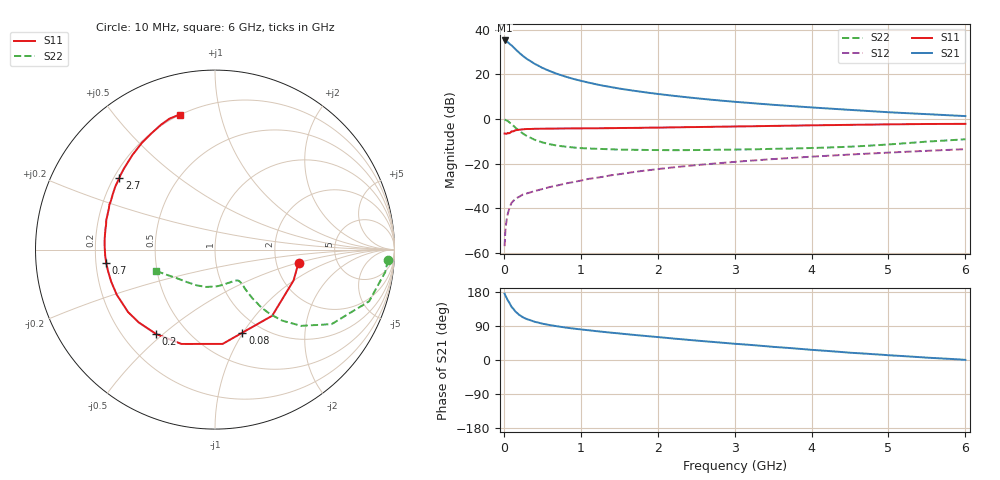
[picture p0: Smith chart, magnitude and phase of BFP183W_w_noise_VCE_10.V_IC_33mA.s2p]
! Infineon Technologies  Discrete & RF Semiconductors
! BFP183W
! VCE =  10. V,  IC =  33 mA
! Common Emitter S-Parameters:  Jan 2017
# GHz  S  MA  R  50
!  f  S11  S21  S12  S22
! GHz  MAG  ANG  MAG  ANG  MAG  ANG  MAG  ANG
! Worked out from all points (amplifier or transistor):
!   77 points, 10 MHz to 6 GHz, reference 50 ohm
!   highest |S21| = 35.2 dB at 10 MHz (marker M1)
!   |S21| within 3 dB of that: start of sweep to 123.4 MHz
!   unconditionally stable (mu >= 1): 968.3 MHz to 3.41 GHz
!   at 130 MHz: K = 0.30, MSG = 34.3 dB, |S12| = -36.5 dB
!   at 2.2 GHz: K = 1.06, MAG = 14.6 dB, |S12| = -21.7 dB
!   at 6 GHz: K = 0.86, MSG = 7.4 dB, |S12| = -13.5 dB
!   lowest NFmin = 1.47 dB at 450 MHz
!   S11 on the Smith chart (normalised r, x): 10 MHz: 2.68, -0.50; 80 MHz: 0.82, -0.99; 200 MHz: 0.34, -0.47; 700 MHz: 0.24, -0.06; 2.7 GHz: 0.22, +0.32; 6 GHz: 0.20, +0.75
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0.01  0.4713 -8.8  57.8 175.1  0.0014 75.7  0.9653 -3.5
0.02  0.4704 -21.4  56.68 170.2  0.0031 86.7  0.9567 -7.5
0.05  0.4872 -49.1  53.14 157.8  0.0073 71.7  0.9061 -18.5
0.08  0.4872 -71.7  47.61 148.0  0.0108 66.6  0.819 -26.4
0.1  0.5272 -85.4  44.86 140.2  0.0131 64.7  0.7711 -32.6
0.15  0.558 -109.6  36.92 128.0  0.0163 52.7  0.6415 -41.5
0.2  0.5735 -125.0  30.57 119.1  0.018 50.7  0.5427 -46.7
0.25  0.5875 -136.3  25.84 112.5  0.0203 48.3  0.4685 -49.6
0.3  0.5965 -144.3  22.2 107.8  0.0214 47.3  0.4134 -51.3
0.4  0.6024 -155.4  17.29 100.8  0.0241 50.5  0.3418 -52.5
0.5  0.6054 -162.9  14.04 95.9  0.0268 51.8  0.2987 -52.6
0.6  0.6078 -168.6  11.83 92.0  0.0298 53.2  0.2704 -52.4
0.7  0.6105 -172.8  10.18 88.8  0.0323 55.4  0.2513 -51.9
0.9  0.614 179.8  7.955 83.1  0.0383 58.3  0.2297 -52.1
1.1  0.6177 174.2  6.552 78.5  0.0452 60.1  0.2182 -52.9
1.5  0.6274 165.0  4.824 70.1  0.0577 61.8  0.2057 -56.9
2.1  0.644 153.1  3.48 58.7  0.0785 61.3  0.2001 -68.1
2.7  0.6666 143.0  2.705 48.0  0.0987 59.4  0.2028 -83.1
3.1  0.6821 136.9  2.358 41.4  0.1124 57.3  0.2067 -93.4
4.1  0.724 123.2  1.771 25.4  0.1458 51.8  0.2256 -119.8
5.1  0.7602 112.6  1.389 11.4  0.1791 45.6  0.2758 -146.1
6  0.7779 104.7  1.161 0.4  0.2104 39.5  0.3502 -160.4
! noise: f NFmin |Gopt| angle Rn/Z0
0.45  1.47  0.28  -179  0.1
0.9  1.51  0.31  -177  0.1
1.9  2  0.46  -156  0.11
2.4  2.24  0.51  -151  0.16
